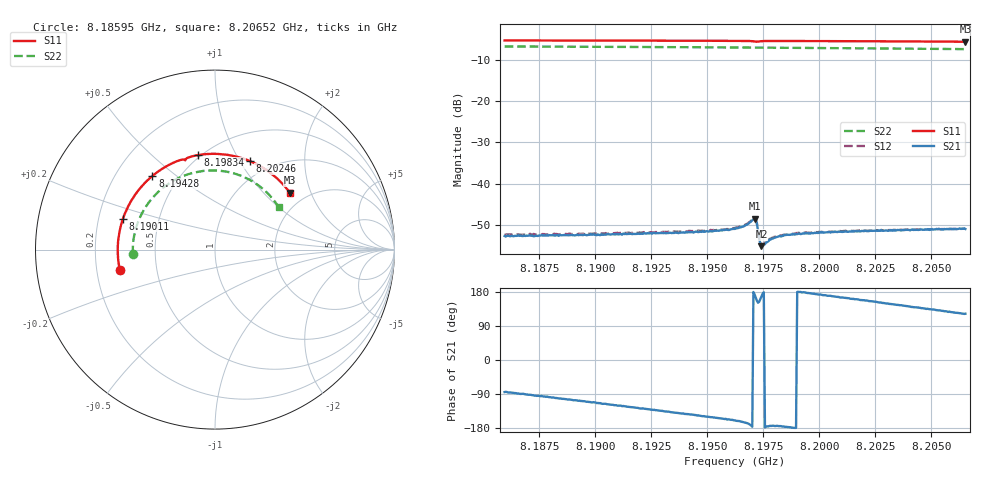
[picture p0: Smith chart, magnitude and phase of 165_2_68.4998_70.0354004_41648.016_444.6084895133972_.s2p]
#  HZ  S  RI  R  50.00
! Rohde & Schwarz Vector Network Analyzer
! Rohde-Schwarz,ZNB20-2Port,1311601062101988,3.16
! Created: UTC 3/20/2024, 4:55:57 PM
! freq[Hz]  re:S11  im:S11  re:S21  im:S21  re:S12  im:S12  re:S22  im:S22
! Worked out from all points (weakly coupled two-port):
!   401 points, 8.18595 GHz to 8.20652 GHz, reference 50 ohm
!   highest |S21| = -48.54 dB at 8.19711 GHz (marker M1); lowest = -55.2 dB at 8.19742 GHz (marker M2)
!   lowest |S11| = -5.6 dB at 8.20652 GHz (marker M3), VSWR 3.20, Z = 82.1 + j71.9 ohm
!   |S11| at or under -10 dB: nowhere
!   |S22| runs from -7.4 to -6.8 dB; largest |S21 - S12| = 0.0002
!   S11 on the Smith chart (normalised r, x): 8.18595 GHz: 0.30, -0.10; 8.19011 GHz: 0.31, +0.15; 8.19428 GHz: 0.36, +0.41; 8.19834 GHz: 0.48, +0.72; 8.20246 GHz: 0.80, +1.10; 8.20652 GHz: 1.64, +1.44
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8.185948e9  -0.5302 -0.115  0.000219 -0.00231  0.000201 -0.00238  -0.4582 -0.0268
8.187696e9  -0.5417 0.00653  -0.000268 -0.00233  -0.000311 -0.00242  -0.4518 0.0696
8.189393e9  -0.5269 0.1241  -0.000744 -0.00227  -0.000844 -0.00231  -0.4263 0.1598
8.190113e9  -0.5127 0.1724  -0.00096 -0.00222  -0.00106 -0.00225  -0.4099 0.1964
8.192839e9  -0.4199 0.3388  -0.00173 -0.00182  -0.00183 -0.00182  -0.3204 0.3173
8.194279e9  -0.3486 0.4105  -0.00209 -0.00153  -0.0022 -0.00148  -0.2579 0.3676
8.195462e9  -0.2802 0.4587  -0.0024 -0.00122  -0.00248 -0.00117  -0.2006 0.3998
8.196233e9  -0.2315 0.4842  -0.00264 -0.000991  -0.00276 -0.000906  -0.1606 0.4162
8.196593e9  -0.2073 0.4942  -0.00289 -0.000839  -0.003 -0.000744  -0.1412 0.4224
8.197004e9  -0.1762 0.5017  -0.00358 -0.00024  -0.00366 -9.68e-05  -0.119 0.4286
8.197107e9  -0.1684 0.5001  -0.00371 0.000456  -0.00376 0.000632  -0.1133 0.4296
8.197159e9  -0.1662 0.4981  -0.00352 0.000978  -0.0035 0.00113  -0.1106 0.4303
8.19721e9  -0.1659 0.497  -0.00299 0.00131  -0.00297 0.00146  -0.1079 0.4308
8.197364e9  -0.1633 0.5044  -0.00176 0.000607  -0.00177 0.000721  -0.0993 0.4327
8.197416e9  -0.1602 0.5071  -0.0017 0.000366  -0.00176 0.000437  -0.0967 0.4334
8.197519e9  -0.1527 0.5113  -0.00179 3.85e-05  -0.00186 0.000108  -0.0908 0.4344
8.197879e9  -0.1263 0.5199  -0.00213 -0.000226  -0.00219 -0.000151  -0.0709 0.4377
8.198341e9  -0.0935 0.5267  -0.00231 -0.000187  -0.00234 -7.56e-05  -0.0448 0.4402
8.199678e9  0.0014 0.5336  -0.00251 0.000221  -0.00254 0.000316  0.0307 0.439
8.202455e9  0.1927 0.4939  -0.00241 0.00117  -0.0024 0.0013  0.182 0.3948
8.203124e9  0.2356 0.4739  -0.0023 0.00144  -0.00228 0.00152  0.2154 0.376
8.206518e9  0.4162 0.3179  -0.0015 0.00238  -0.00142 0.0025  0.354 0.2374
